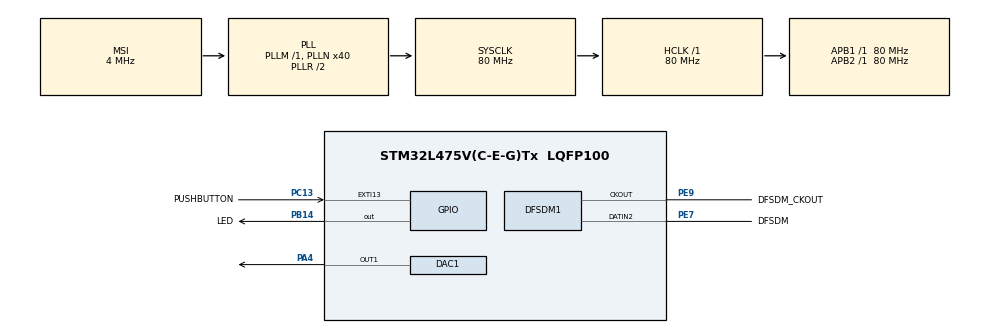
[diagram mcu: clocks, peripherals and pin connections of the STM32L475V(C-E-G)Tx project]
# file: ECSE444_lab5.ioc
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DAC1.DAC_Trigger-DAC_OUT1=DAC_TRIGGER_T2_TRGO
DFSDM1.Divider=32
DFSDM1.DmaMode_reg_FIL0=ENABLE
DFSDM1.FastMode_reg_FIL0=ENABLE
DFSDM1.Filter_regChannel_FIL0=DFSDM_CHANNEL_2
DFSDM1.Fosr_FIL0=208
DFSDM1.Selection=DFSDM_CHANNEL_OUTPUT_CLOCK_SYSTEM
DFSDM1.SincOrder_FIL0=DFSDM_FILTER_SINC3_ORDER
Dma.DAC_CH1.0.Direction=DMA_MEMORY_TO_PERIPH
Dma.DAC_CH1.0.Instance=DMA1_Channel3
Dma.DAC_CH1.0.MemDataAlignment=DMA_MDATAALIGN_WORD
Dma.DAC_CH1.0.MemInc=DMA_MINC_ENABLE
Dma.DAC_CH1.0.Mode=DMA_CIRCULAR
Dma.DAC_CH1.0.PeriphDataAlignment=DMA_PDATAALIGN_WORD
Dma.DAC_CH1.0.PeriphInc=DMA_PINC_DISABLE
Dma.DAC_CH1.0.Priority=DMA_PRIORITY_LOW
Dma.DFSDM1_FLT0.1.Direction=DMA_PERIPH_TO_MEMORY
Dma.DFSDM1_FLT0.1.Instance=DMA1_Channel4
Dma.DFSDM1_FLT0.1.MemDataAlignment=DMA_MDATAALIGN_WORD
Dma.DFSDM1_FLT0.1.MemInc=DMA_MINC_ENABLE
Dma.DFSDM1_FLT0.1.Mode=DMA_NORMAL
Dma.DFSDM1_FLT0.1.PeriphDataAlignment=DMA_PDATAALIGN_WORD
Dma.DFSDM1_FLT0.1.PeriphInc=DMA_PINC_DISABLE
Dma.DFSDM1_FLT0.1.Priority=DMA_PRIORITY_LOW
Dma.Request0=DAC_CH1
Dma.Request1=DFSDM1_FLT0
Mcu.Family=STM32L4
Mcu.Name=STM32L475V(C-E-G)Tx
Mcu.Package=LQFP100
NVIC.DMA1_Channel3_IRQn=true\:0\:0\:false\:false\:true\:false\:true\:true
NVIC.DMA1_Channel4_IRQn=true\:0\:0\:false\:false\:true\:false\:true\:true
NVIC.EXTI15_10_IRQn=true\:0\:0\:false\:false\:true\:true\:true\:true
NVIC.PriorityGroup=NVIC_PRIORITYGROUP_4
NVIC.TIM2_IRQn=true\:0\:0\:false\:false\:true\:true\:true\:true
PA13\ (JTMS-SWDIO).Signal=SYS_JTMS-SWDIO
PA4.Signal=COMP_DAC11_group
PB14.GPIO_Label=LED
PB14.Signal=GPIO_Output
PB3\ (JTDO-TRACESWO).Signal=SYS_JTDO-SWO
PC13.GPIO_Label=PUSHBUTTON
PC13.Signal=GPXTI13
PE7.GPIO_Label=DFSDM
PE7.Signal=S_DATAIN2DFSDM1
PE9.GPIO_Label=DFSDM_CKOUT
PE9.Signal=S_CKOUTDFSDM1
ProjectManager.HeapSize=0x200
ProjectManager.StackSize=0x400
ProjectManager.TargetToolchain=STM32CubeIDE
RCC.ADCFreq_Value=48000000
RCC.AHBFreq_Value=80000000
RCC.APB1Freq_Value=80000000
RCC.APB1TimFreq_Value=80000000
RCC.APB2Freq_Value=80000000
RCC.APB2TimFreq_Value=80000000
RCC.CortexFreq_Value=80000000
RCC.HCLKFreq_Value=80000000
RCC.HSE_VALUE=8000000
RCC.HSI_VALUE=16000000
RCC.LSE_VALUE=32768
RCC.MSI_VALUE=4000000
RCC.PLLN=40
RCC.PLLSAI1N=24
RCC.SYSCLKFreq_VALUE=80000000
RCC.SYSCLKSource=RCC_SYSCLKSOURCE_PLLCLK
RCC.USBFreq_Value=48000000
RCC.VCOOutputFreq_Value=160000000
SH.COMP_DAC11_group.0=DAC1_OUT1,DAC_OUT1
SH.S_CKOUTDFSDM1.0=DFSDM1_CKOUT
SH.S_CKOUTDFSDM1.1=DFSDM1_CKOUT,PDM_SPI_input_from_ch2_and_internal_clock
SH.S_CKOUTDFSDM1.2=DFSDM1_CKOUT,CKOUT
SH.S_DATAIN2DFSDM1.0=DFSDM1_DATIN2,PDM_SPI_input_from_ch2_and_internal_clock
TIM2.Period=6667
TIM2.TIM_MasterOutputTrigger=TIM_TRGO_UPDATE
VP_TIM2_VS_ClockSourceINT.Mode=Internal
board=B-L475E-IOT01A1

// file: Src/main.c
/* USER CODE BEGIN Header */
/**
  ******************************************************************************
  * @file           : main.c
  * @brief          : Main program body
  ******************************************************************************
  * @attention
  *
  * Copyright (c) 2022 STMicroelectronics.
  * All rights reserved.
  *
  * This software is licensed under terms that can be found in the LICENSE file
  * in the root directory of this software component.
  * If no LICENSE file comes with this software, it is provided AS-IS.
  *
  ******************************************************************************
  */
/* USER CODE END Header */
#include "main.h"

/* USER CODE BEGIN Includes */
#define ARM_MATH_CM4
#include "arm_math.h"
/* USER CODE END Includes */

DAC_HandleTypeDef hdac1;
DMA_HandleTypeDef hdma_dac_ch1;

DFSDM_Filter_HandleTypeDef hdfsdm1_filter0;
DFSDM_Channel_HandleTypeDef hdfsdm1_channel2;
DMA_HandleTypeDef hdma_dfsdm1_flt0;

TIM_HandleTypeDef htim2;

/* USER CODE BEGIN PV */

uint32_t bufferSize = 12000;
int32_t buffer[12000];
uint32_t dacin[12000];

/* USER CODE END PV */

void SystemClock_Config(void);
static void MX_GPIO_Init(void);
static void MX_DMA_Init(void);
static void MX_DAC1_Init(void);
static void MX_TIM2_Init(void);
static void MX_DFSDM1_Init(void);

/* USER CODE BEGIN 0 */
void HAL_GPIO_EXTI_Callback(uint16_t GPIO_Pin) {
	// no need to verify the pin since there are no external interrupts

	// change audio signal on pushbutton press
	HAL_DAC_Stop_DMA(&hdac1, DAC_CHANNEL_1);
	HAL_DFSDM_FilterRegularStop_DMA(&hdfsdm1_filter0);

	// fill zero with buffer
	for (int i = 0; i < bufferSize; i++) {
		buffer[i] = (int32_t) 0;
	}

//	HAL_DFSDM_FilterRegularStart_DMA(&hdfsdm1_filter0, buffer, bufferSize);
	HAL_DFSDM_FilterRegularStart_DMA(&hdfsdm1_filter0, buffer, bufferSize);

	// toggle LED on PUSHBUTTON push
	HAL_GPIO_TogglePin(LED_GPIO_Port, LED_Pin);
}
void HAL_DFSDM_FilterRegConvCpltCallback (DFSDM_Filter_HandleTypeDef * hdfsdm_filter){
//	HAL_DAC_Start_DMA(&hdac1, DAC_CHANNEL_1, buffer, bufferSize, DAC_ALIGN_12B_R);
	HAL_GPIO_TogglePin(LED_GPIO_Port, LED_Pin);

	for(int i = 0; i < bufferSize; i++) {
//		uint32_t temp = ((buffer[i] >> 8))/256;//
//		dacin[i] = temp;

//		int32_t temp = buffer[i] >> 8;
//		int32_t y = temp + 2048;
//		uint32_t convert = (uint32_t) y;
//		dacin[i] =  (uint16_t) convert;

		//		int32_t value=buffer[i]>>8;
//		int32_t y = value + 2048;
//		uint32_t convert = (uint32_t)y;
//		dacin[i] = ((uint16_t)convert);

//		int32_t value=recording[i]>>12;
//		int32_t y = value + 2048;
//		uint32_t convert = (uint32_t)y;
//		speaker[i] = ((uint16_t)convert);

//		dacin[i] = (uint32_t) ((int32_t) ((buffer[i] >> 8)) + 2048);
		dacin[i] = (uint32_t) ((int32_t) ((buffer[i] >> 8)) + 2048);

	}
//	HAL_DAC_Start_DMA(&hdac1, DAC_CHANNEL_1, sine2, 40, DAC_ALIGN_12B_R);
	HAL_DAC_Start_DMA(&hdac1, DAC_CHANNEL_1, dacin, bufferSize, DAC_ALIGN_12B_R);
}

/* USER CODE END 0 */

int main(void)
{

  /* MCU Configuration--------------------------------------------------------*/

  /* Reset of all peripherals, Initializes the Flash interface and the Systick. */
  HAL_Init();

  /* Configure the system clock */
  SystemClock_Config();

  /* Initialize all configured peripherals */
  MX_GPIO_Init();
  MX_DMA_Init();
  MX_DAC1_Init();
  MX_TIM2_Init();
  MX_DFSDM1_Init();
  /* USER CODE BEGIN 2 */

//  HAL_TIM_BASE_Start(&htim2);
  HAL_TIM_Base_Start_IT(&htim2); // start timer in interrupt mode
  HAL_DMA_Init(&hdma_dac_ch1);
  HAL_DMA_Init(&hdma_dfsdm1_flt0);
//  HAL_DMA_Init(&htim2);
  HAL_DAC_Start(&hdac1, DAC_CHANNEL_1); // start DAC

  /* USER CODE END 2 */

  /* Infinite loop */
  while (1)
  {

  }
}

void SystemClock_Config(void)
{
  RCC_OscInitTypeDef RCC_OscInitStruct = {0};
  RCC_ClkInitTypeDef RCC_ClkInitStruct = {0};

  /** Configure the main internal regulator output voltage
  */
  if (HAL_PWREx_ControlVoltageScaling(PWR_REGULATOR_VOLTAGE_SCALE1) != HAL_OK)
  {
    Error_Handler();
  }

  /** Initializes the RCC Oscillators according to the specified parameters
  * in the RCC_OscInitTypeDef structure.
  */
  RCC_OscInitStruct.OscillatorType = RCC_OSCILLATORTYPE_MSI;
  RCC_OscInitStruct.MSIState = RCC_MSI_ON;
  RCC_OscInitStruct.MSICalibrationValue = 0;
  RCC_OscInitStruct.MSIClockRange = RCC_MSIRANGE_6;
  RCC_OscInitStruct.PLL.PLLState = RCC_PLL_ON;
  RCC_OscInitStruct.PLL.PLLSource = RCC_PLLSOURCE_MSI;
  RCC_OscInitStruct.PLL.PLLM = 1;
  RCC_OscInitStruct.PLL.PLLN = 40;
  RCC_OscInitStruct.PLL.PLLP = RCC_PLLP_DIV7;
  RCC_OscInitStruct.PLL.PLLQ = RCC_PLLQ_DIV2;
  RCC_OscInitStruct.PLL.PLLR = RCC_PLLR_DIV2;
  if (HAL_RCC_OscConfig(&RCC_OscInitStruct) != HAL_OK)
  {
    Error_Handler();
  }

  /** Initializes the CPU, AHB and APB buses clocks
  */
  RCC_ClkInitStruct.ClockType = RCC_CLOCKTYPE_HCLK|RCC_CLOCKTYPE_SYSCLK
                              |RCC_CLOCKTYPE_PCLK1|RCC_CLOCKTYPE_PCLK2;
  RCC_ClkInitStruct.SYSCLKSource = RCC_SYSCLKSOURCE_PLLCLK;
  RCC_ClkInitStruct.AHBCLKDivider = RCC_SYSCLK_DIV1;
  RCC_ClkInitStruct.APB1CLKDivider = RCC_HCLK_DIV1;
  RCC_ClkInitStruct.APB2CLKDivider = RCC_HCLK_DIV1;

  if (HAL_RCC_ClockConfig(&RCC_ClkInitStruct, FLASH_LATENCY_4) != HAL_OK)
  {
    Error_Handler();
  }
}

static void MX_DAC1_Init(void)
{

  DAC_ChannelConfTypeDef sConfig = {0};

  /** DAC Initialization
  */
  hdac1.Instance = DAC1;
  if (HAL_DAC_Init(&hdac1) != HAL_OK)
  {
    Error_Handler();
  }

  /** DAC channel OUT1 config
  */
  sConfig.DAC_SampleAndHold = DAC_SAMPLEANDHOLD_DISABLE;
  sConfig.DAC_Trigger = DAC_TRIGGER_T2_TRGO;
  sConfig.DAC_OutputBuffer = DAC_OUTPUTBUFFER_ENABLE;
  sConfig.DAC_ConnectOnChipPeripheral = DAC_CHIPCONNECT_DISABLE;
  sConfig.DAC_UserTrimming = DAC_TRIMMING_FACTORY;
  if (HAL_DAC_ConfigChannel(&hdac1, &sConfig, DAC_CHANNEL_1) != HAL_OK)
  {
    Error_Handler();
  }

}

static void MX_DFSDM1_Init(void)
{

  hdfsdm1_filter0.Instance = DFSDM1_Filter0;
  hdfsdm1_filter0.Init.RegularParam.Trigger = DFSDM_FILTER_SW_TRIGGER;
  hdfsdm1_filter0.Init.RegularParam.FastMode = ENABLE;
  hdfsdm1_filter0.Init.RegularParam.DmaMode = ENABLE;
  hdfsdm1_filter0.Init.FilterParam.SincOrder = DFSDM_FILTER_FASTSINC_ORDER;
  hdfsdm1_filter0.Init.FilterParam.Oversampling = 100;
  hdfsdm1_filter0.Init.FilterParam.IntOversampling = 1;
  if (HAL_DFSDM_FilterInit(&hdfsdm1_filter0) != HAL_OK)
  {
    Error_Handler();
  }
  hdfsdm1_channel2.Instance = DFSDM1_Channel2;
  hdfsdm1_channel2.Init.OutputClock.Activation = ENABLE;
  hdfsdm1_channel2.Init.OutputClock.Selection = DFSDM_CHANNEL_OUTPUT_CLOCK_SYSTEM;
  hdfsdm1_channel2.Init.OutputClock.Divider = 32;
  hdfsdm1_channel2.Init.Input.Multiplexer = DFSDM_CHANNEL_EXTERNAL_INPUTS;
  hdfsdm1_channel2.Init.Input.DataPacking = DFSDM_CHANNEL_STANDARD_MODE;
  hdfsdm1_channel2.Init.Input.Pins = DFSDM_CHANNEL_SAME_CHANNEL_PINS;
  hdfsdm1_channel2.Init.SerialInterface.Type = DFSDM_CHANNEL_SPI_RISING;
  hdfsdm1_channel2.Init.SerialInterface.SpiClock = DFSDM_CHANNEL_SPI_CLOCK_INTERNAL;
  hdfsdm1_channel2.Init.Awd.FilterOrder = DFSDM_CHANNEL_FASTSINC_ORDER;
  hdfsdm1_channel2.Init.Awd.Oversampling = 1;
  hdfsdm1_channel2.Init.Offset = 0;
  hdfsdm1_channel2.Init.RightBitShift = 0x00;
  if (HAL_DFSDM_ChannelInit(&hdfsdm1_channel2) != HAL_OK)
  {
    Error_Handler();
  }
  if (HAL_DFSDM_FilterConfigRegChannel(&hdfsdm1_filter0, DFSDM_CHANNEL_2, DFSDM_CONTINUOUS_CONV_ON) != HAL_OK)
  {
    Error_Handler();
  }

}

static void MX_TIM2_Init(void)
{

  TIM_ClockConfigTypeDef sClockSourceConfig = {0};
  TIM_MasterConfigTypeDef sMasterConfig = {0};

  htim2.Instance = TIM2;
  htim2.Init.Prescaler = 0;
  htim2.Init.CounterMode = TIM_COUNTERMODE_UP;
  htim2.Init.Period = 3200;
  htim2.Init.ClockDivision = TIM_CLOCKDIVISION_DIV1;
  htim2.Init.AutoReloadPreload = TIM_AUTORELOAD_PRELOAD_DISABLE;
  if (HAL_TIM_Base_Init(&htim2) != HAL_OK)
  {
    Error_Handler();
  }
  sClockSourceConfig.ClockSource = TIM_CLOCKSOURCE_INTERNAL;
  if (HAL_TIM_ConfigClockSource(&htim2, &sClockSourceConfig) != HAL_OK)
  {
    Error_Handler();
  }
  sMasterConfig.MasterOutputTrigger = TIM_TRGO_UPDATE;
  sMasterConfig.MasterSlaveMode = TIM_MASTERSLAVEMODE_DISABLE;
  if (HAL_TIMEx_MasterConfigSynchronization(&htim2, &sMasterConfig) != HAL_OK)
  {
    Error_Handler();
  }

}
static void MX_DMA_Init(void)
{

  /* DMA controller clock enable */
  __HAL_RCC_DMA1_CLK_ENABLE();

  /* DMA interrupt init */
  /* DMA1_Channel3_IRQn interrupt configuration */
  HAL_NVIC_SetPriority(DMA1_Channel3_IRQn, 0, 0);
  HAL_NVIC_EnableIRQ(DMA1_Channel3_IRQn);
  /* DMA1_Channel4_IRQn interrupt configuration */
  HAL_NVIC_SetPriority(DMA1_Channel4_IRQn, 0, 0);
  HAL_NVIC_EnableIRQ(DMA1_Channel4_IRQn);

}

static void MX_GPIO_Init(void)
{
  GPIO_InitTypeDef GPIO_InitStruct = {0};

  /* GPIO Ports Clock Enable */
  __HAL_RCC_GPIOC_CLK_ENABLE();
  __HAL_RCC_GPIOA_CLK_ENABLE();
  __HAL_RCC_GPIOE_CLK_ENABLE();
  __HAL_RCC_GPIOB_CLK_ENABLE();

  /*Configure GPIO pin Output Level */
  HAL_GPIO_WritePin(LED_GPIO_Port, LED_Pin, GPIO_PIN_RESET);

  /*Configure GPIO pin : PUSHBUTTON_Pin */
  GPIO_InitStruct.Pin = PUSHBUTTON_Pin;
  GPIO_InitStruct.Mode = GPIO_MODE_IT_RISING;
  GPIO_InitStruct.Pull = GPIO_NOPULL;
  HAL_GPIO_Init(PUSHBUTTON_GPIO_Port, &GPIO_InitStruct);

  /*Configure GPIO pin : LED_Pin */
  GPIO_InitStruct.Pin = LED_Pin;
  GPIO_InitStruct.Mode = GPIO_MODE_OUTPUT_PP;
  GPIO_InitStruct.Pull = GPIO_NOPULL;
  GPIO_InitStruct.Speed = GPIO_SPEED_FREQ_LOW;
  HAL_GPIO_Init(LED_GPIO_Port, &GPIO_InitStruct);

  /* EXTI interrupt init*/
  HAL_NVIC_SetPriority(EXTI15_10_IRQn, 0, 0);
  HAL_NVIC_EnableIRQ(EXTI15_10_IRQn);

}

void Error_Handler(void)
{
  __disable_irq();
  while (1)
  {
  }
}
